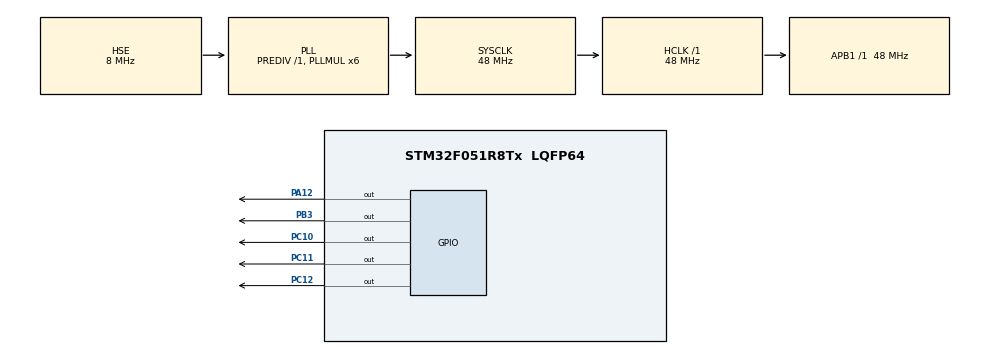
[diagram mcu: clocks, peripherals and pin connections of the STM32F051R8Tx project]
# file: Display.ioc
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Mcu.Family=STM32F0
Mcu.Name=STM32F051R8Tx
Mcu.Package=LQFP64
PA12.GPIO_Speed=GPIO_SPEED_FREQ_HIGH
PA12.Signal=GPIO_Output
PA13.Mode=Serial_Wire
PA13.Signal=SYS_SWDIO
PA14.Mode=Serial_Wire
PA14.Signal=SYS_SWCLK
PB3.GPIO_Speed=GPIO_SPEED_FREQ_HIGH
PB3.Signal=GPIO_Output
PC10.GPIO_Speed=GPIO_SPEED_FREQ_HIGH
PC10.Signal=GPIO_Output
PC11.Signal=GPIO_Output
PC12.Signal=GPIO_Output
PF0-OSC_IN.Mode=HSE-External-Oscillator
PF0-OSC_IN.Signal=RCC_OSC_IN
PF1-OSC_OUT.Mode=HSE-External-Oscillator
PF1-OSC_OUT.Signal=RCC_OSC_OUT
ProjectManager.HeapSize=0x200
ProjectManager.StackSize=0x400
ProjectManager.TargetToolchain=MDK-ARM V5
RCC.AHBFreq_Value=48000000
RCC.APB1Freq_Value=48000000
RCC.APB1TimFreq_Value=48000000
RCC.HCLKFreq_Value=48000000
RCC.PLLMUL=RCC_PLL_MUL6
RCC.PLLSourceVirtual=RCC_PLLSOURCE_HSE
RCC.SYSCLKFreq_VALUE=48000000
RCC.SYSCLKSource=RCC_SYSCLKSOURCE_PLLCLK
board=custom

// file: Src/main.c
/* USER CODE BEGIN Header */
/**
  ******************************************************************************
  * @file           : main.c
  * @brief          : Main program body
  ******************************************************************************
  * @attention
  *
  * <h2><center>&copy; Copyright (c) 2019 STMicroelectronics.
  * All rights reserved.</center></h2>
  *
  * This software component is licensed by ST under BSD 3-Clause license,
  * the "License"; You may not use this file except in compliance with the
  * License. You may obtain a copy of the License at:
  *                        opensource.org/licenses/BSD-3-Clause
  *
  ******************************************************************************
  */
/* USER CODE END Header */

#include "main.h"
#include "gpio.h"

/* USER CODE BEGIN Includes */
#include "th1621.h"
/* USER CODE END Includes */

void SystemClock_Config(void);

int main(void)
{

  /* MCU Configuration--------------------------------------------------------*/

  /* Reset of all peripherals, Initializes the Flash interface and the Systick. */
  HAL_Init();

  /* Configure the system clock */
  SystemClock_Config();

  /* Initialize all configured peripherals */
  MX_GPIO_Init();
  /* USER CODE BEGIN 2 */
	port_init();
  SendCmd(0x01);
	SendCmd(0x03);
	SendCmd(0x29);
	SendCmd(0x04);
	SendCmd(0x05);
	SendCmd(0x09);
	SendCmd(0x0c);
	SendCmd(0x0e);
	SendCmd(0x18);
  SendCmd(0x80);
	SendCmd(0xa3);
	display_all();
	HAL_Delay(1000);
	display_off();
	HAL_Delay(1000);
  /* USER CODE END 2 */

  /* Infinite loop */
  while (1)
  {

  }
}

void SystemClock_Config(void)
{
  RCC_OscInitTypeDef RCC_OscInitStruct = {0};
  RCC_ClkInitTypeDef RCC_ClkInitStruct = {0};

  /** Initializes the CPU, AHB and APB busses clocks
  */
  RCC_OscInitStruct.OscillatorType = RCC_OSCILLATORTYPE_HSE;
  RCC_OscInitStruct.HSEState = RCC_HSE_ON;
  RCC_OscInitStruct.PLL.PLLState = RCC_PLL_ON;
  RCC_OscInitStruct.PLL.PLLSource = RCC_PLLSOURCE_HSE;
  RCC_OscInitStruct.PLL.PLLMUL = RCC_PLL_MUL6;
  RCC_OscInitStruct.PLL.PREDIV = RCC_PREDIV_DIV1;
  if (HAL_RCC_OscConfig(&RCC_OscInitStruct) != HAL_OK)
  {
    Error_Handler();
  }
  /** Initializes the CPU, AHB and APB busses clocks
  */
  RCC_ClkInitStruct.ClockType = RCC_CLOCKTYPE_HCLK|RCC_CLOCKTYPE_SYSCLK
                              |RCC_CLOCKTYPE_PCLK1;
  RCC_ClkInitStruct.SYSCLKSource = RCC_SYSCLKSOURCE_PLLCLK;
  RCC_ClkInitStruct.AHBCLKDivider = RCC_SYSCLK_DIV1;
  RCC_ClkInitStruct.APB1CLKDivider = RCC_HCLK_DIV1;

  if (HAL_RCC_ClockConfig(&RCC_ClkInitStruct, FLASH_LATENCY_1) != HAL_OK)
  {
    Error_Handler();
  }
}

void Error_Handler(void)
{
}

/************************ (C) COPYRIGHT STMicroelectronics *****END OF FILE****/
